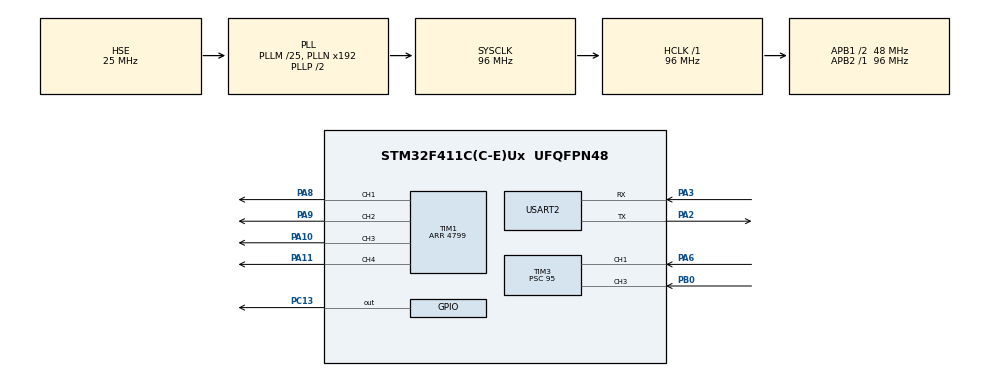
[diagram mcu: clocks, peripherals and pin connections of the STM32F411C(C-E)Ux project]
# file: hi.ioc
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Mcu.Family=STM32F4
Mcu.Name=STM32F411C(C-E)Ux
Mcu.Package=UFQFPN48
NVIC.PriorityGroup=NVIC_PRIORITYGROUP_4
NVIC.TIM3_IRQn=true\:0\:0\:false\:false\:true\:true\:true\:true
PA10.Signal=S_TIM1_CH3
PA11.Signal=S_TIM1_CH4
PA13.Mode=Serial_Wire
PA13.Signal=SYS_JTMS-SWDIO
PA14.Mode=Serial_Wire
PA14.Signal=SYS_JTCK-SWCLK
PA2.Mode=Asynchronous
PA2.Signal=USART2_TX
PA3.Mode=Asynchronous
PA3.Signal=USART2_RX
PA6.Signal=S_TIM3_CH1
PA7.Signal=S_TIM3_CH2
PA8.Signal=S_TIM1_CH1
PA9.Signal=S_TIM1_CH2
PB0.Signal=S_TIM3_CH3
PB1.Signal=S_TIM3_CH4
PC13-ANTI_TAMP.Signal=GPIO_Output
PH0\ -\ OSC_IN.Mode=HSE-External-Oscillator
PH0\ -\ OSC_IN.Signal=RCC_OSC_IN
PH1\ -\ OSC_OUT.Mode=HSE-External-Oscillator
PH1\ -\ OSC_OUT.Signal=RCC_OSC_OUT
ProjectManager.HeapSize=0x200
ProjectManager.StackSize=0x400
ProjectManager.TargetToolchain=STM32CubeIDE
RCC.48MHZClocksFreq_Value=48000000
RCC.AHBFreq_Value=96000000
RCC.APB1CLKDivider=RCC_HCLK_DIV2
RCC.APB1Freq_Value=48000000
RCC.APB1TimFreq_Value=96000000
RCC.APB2Freq_Value=96000000
RCC.APB2TimFreq_Value=96000000
RCC.CortexFreq_Value=96000000
RCC.HCLKFreq_Value=96000000
RCC.HSE_VALUE=25000000
RCC.HSI_VALUE=16000000
RCC.LSE_VALUE=32768
RCC.PLLM=25
RCC.PLLSourceVirtual=RCC_PLLSOURCE_HSE
RCC.SYSCLKFreq_VALUE=96000000
RCC.SYSCLKSource=RCC_SYSCLKSOURCE_PLLCLK
RCC.VCOOutputFreq_Value=192000000
SH.S_TIM1_CH1.0=TIM1_CH1,PWM Generation1 CH1
SH.S_TIM1_CH2.0=TIM1_CH2,PWM Generation2 CH2
SH.S_TIM1_CH3.0=TIM1_CH3,PWM Generation3 CH3
SH.S_TIM1_CH4.0=TIM1_CH4,PWM Generation4 CH4
SH.S_TIM3_CH1.0=TIM3_CH1,Input_Capture1_from_TI1
SH.S_TIM3_CH2.0=TIM3_CH2
SH.S_TIM3_CH3.0=TIM3_CH3,Input_Capture3_from_TI3
SH.S_TIM3_CH4.0=TIM3_CH4
TIM1.Channel-PWM\ Generation1\ CH1=TIM_CHANNEL_1
TIM1.Channel-PWM\ Generation2\ CH2=TIM_CHANNEL_2
TIM1.Channel-PWM\ Generation3\ CH3=TIM_CHANNEL_3
TIM1.Channel-PWM\ Generation4\ CH4=TIM_CHANNEL_4
TIM1.Period=4799
TIM3.Channel-Input_Capture1_from_TI1=TIM_CHANNEL_1
TIM3.Channel-Input_Capture2_from_TI1_63=TIM_CHANNEL_2
TIM3.Channel-Input_Capture3_from_TI3=TIM_CHANNEL_3
TIM3.Channel-Input_Capture4_from_TI3_63=TIM_CHANNEL_4
TIM3.ICPolarity_CH2=TIM_INPUTCHANNELPOLARITY_FALLING
TIM3.ICPolarity_CH4=TIM_INPUTCHANNELPOLARITY_FALLING
TIM3.Prescaler=95
USART2.VirtualMode=VM_ASYNC
VP_TIM3_VS_indirect_ch1.Mode=Input_Capture2_from_TI1_63
VP_TIM3_VS_indirect_ch3.Mode=Input_Capture4_from_TI3_63
board=custom

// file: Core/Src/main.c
/* USER CODE BEGIN Header */
/**
  ******************************************************************************
  * @file           : main.c
  * @brief          : Main program body
  ******************************************************************************
  * @attention
  *
  * Copyright (c) 2024 STMicroelectronics.
  * All rights reserved.
  *
  * This software is licensed under terms that can be found in the LICENSE file
  * in the root directory of this software component.
  * If no LICENSE file comes with this software, it is provided AS-IS.
  *
  ******************************************************************************
  */
/* USER CODE END Header */
#include "main.h"

/* USER CODE BEGIN Includes */
#include <stdio.h>
#include <stdint.h>
#include <string.h>
#include <stdlib.h>
#include <ctype.h>
#include "Motor_Driver.h"
#include "Receiver.h"

/* USER CODE END Includes */

TIM_HandleTypeDef htim1;
TIM_HandleTypeDef htim3;

UART_HandleTypeDef huart2;

/* USER CODE BEGIN PV */

/* USER CODE BEGIN PV */

volatile uint16_t previousTriggerValue = 0;
volatile uint16_t previousWheelValue = 0;

    // Initialize RCReceiver struct members using designated initializers
char message[150];
RCReceiver receiver= {
	.Trigger_Channel1_Rise = TIM_CHANNEL_1,
	.Trigger_Channel1_Fall = TIM_CHANNEL_2,
	.Trigger_Channel2_Rise = TIM_CHANNEL_3,
	.Trigger_Channel2_Fall = TIM_CHANNEL_4,
	.htim = &htim3,
	.nominalPWM = 1521,         // Nominal PWM from the receiver (in microseconds)
	.highPWM = 2042,            // High PWM period value from the receiver (in microseconds)
	.lowPWM = 1019
};
RCReceiver *pointer_rc = &receiver;

/* USER CODE END PV */

void SystemClock_Config(void);
static void MX_GPIO_Init(void);
static void MX_TIM1_Init(void);
static void MX_TIM3_Init(void);
static void MX_USART2_UART_Init(void);

/* USER CODE BEGIN 0 */
MotorDriver motor1;
MotorDriver motor2;
/* USER CODE END 0 */

int main(void)
{

  /* MCU Configuration--------------------------------------------------------*/

  /* Reset of all peripherals, Initializes the Flash interface and the Systick. */
  HAL_Init();

  /* Configure the system clock */
  SystemClock_Config();

  /* Initialize all configured peripherals */
  MX_GPIO_Init();
  MX_TIM1_Init();
  MX_TIM3_Init();
  MX_USART2_UART_Init();
  /* USER CODE BEGIN 2 */

  HAL_UART_Transmit(&huart2, (uint8_t*)"\n\r Enter a Command: Mnxy .\r\n", 29, HAL_MAX_DELAY);

  // Start RC receiver capture
  startRCReceiverCapture(&receiver);

  /* Initialize motor drivers */
  motor1.htim = &htim1;
  motor1.forward_channel = TIM_CHANNEL_1;
  motor1.backward_channel = TIM_CHANNEL_2;

  motor2.htim = &htim1;
  motor2.forward_channel = TIM_CHANNEL_3;
  motor2.backward_channel = TIM_CHANNEL_4;

  motor_disable(&motor1);
  motor_disable(&motor2);

  motor_enable(&motor1);
  motor_enable(&motor2);

  motor_brake(&motor1);
  motor_brake(&motor2);

  uint16_t Trigger_Duty = 0; //returns trigger_val
  uint16_t Wheel_Duty = 0;

  startRCReceiverCapture(&receiver);

  /* USER CODE END 2 */

  /* Infinite loop */
  /* USER CODE BEGIN WHILE */
  while (1)
  {
      // Calculate trigger and wheel values
      calculateTriggerValueCallback(&receiver, previousTriggerValue);
      calculateWheelValueCallback(&receiver, previousWheelValue);

      // Prepare message with trigger and wheel values
      sprintf(message, "\n\r Trigger Channel MOT: %d (us), Wheel Channel MOT: %d (us).", g_trigger_val, g_wheel_val);

      // Calculate duty cycles for motor control
      Trigger_Duty = -4550 + (g_trigger_val - 1019) * (9598 / 1019);
      Wheel_Duty = -4550 + (g_wheel_val - 1019) * (9598 / 1019);

      // Set duty cycles for respective motors
      motor_set_duty_cycle(&motor1, Trigger_Duty);
      motor_set_duty_cycle(&motor2, Wheel_Duty);

      // Transmit message over UART
      HAL_UART_Transmit(&huart2, (uint8_t*)message, strlen(message), HAL_MAX_DELAY);

      // Delay to control the loop frequency
      HAL_Delay(200);

      // Additional delay or other processing if needed
  }

  /* USER CODE END 3 */
}

void SystemClock_Config(void)
{
  RCC_OscInitTypeDef RCC_OscInitStruct = {0};
  RCC_ClkInitTypeDef RCC_ClkInitStruct = {0};

  /** Configure the main internal regulator output voltage
  */
  __HAL_RCC_PWR_CLK_ENABLE();
  __HAL_PWR_VOLTAGESCALING_CONFIG(PWR_REGULATOR_VOLTAGE_SCALE1);

  /** Initializes the RCC Oscillators according to the specified parameters
  * in the RCC_OscInitTypeDef structure.
  */
  RCC_OscInitStruct.OscillatorType = RCC_OSCILLATORTYPE_HSE;
  RCC_OscInitStruct.HSEState = RCC_HSE_ON;
  RCC_OscInitStruct.PLL.PLLState = RCC_PLL_ON;
  RCC_OscInitStruct.PLL.PLLSource = RCC_PLLSOURCE_HSE;
  RCC_OscInitStruct.PLL.PLLM = 25;
  RCC_OscInitStruct.PLL.PLLN = 192;
  RCC_OscInitStruct.PLL.PLLP = RCC_PLLP_DIV2;
  RCC_OscInitStruct.PLL.PLLQ = 4;
  if (HAL_RCC_OscConfig(&RCC_OscInitStruct) != HAL_OK)
  {
    Error_Handler();
  }

  /** Initializes the CPU, AHB and APB buses clocks
  */
  RCC_ClkInitStruct.ClockType = RCC_CLOCKTYPE_HCLK|RCC_CLOCKTYPE_SYSCLK
                              |RCC_CLOCKTYPE_PCLK1|RCC_CLOCKTYPE_PCLK2;
  RCC_ClkInitStruct.SYSCLKSource = RCC_SYSCLKSOURCE_PLLCLK;
  RCC_ClkInitStruct.AHBCLKDivider = RCC_SYSCLK_DIV1;
  RCC_ClkInitStruct.APB1CLKDivider = RCC_HCLK_DIV2;
  RCC_ClkInitStruct.APB2CLKDivider = RCC_HCLK_DIV1;

  if (HAL_RCC_ClockConfig(&RCC_ClkInitStruct, FLASH_LATENCY_3) != HAL_OK)
  {
    Error_Handler();
  }
}

static void MX_TIM1_Init(void)
{

  TIM_MasterConfigTypeDef sMasterConfig = {0};
  TIM_OC_InitTypeDef sConfigOC = {0};
  TIM_BreakDeadTimeConfigTypeDef sBreakDeadTimeConfig = {0};

  htim1.Instance = TIM1;
  htim1.Init.Prescaler = 0;
  htim1.Init.CounterMode = TIM_COUNTERMODE_UP;
  htim1.Init.Period = 4799;
  htim1.Init.ClockDivision = TIM_CLOCKDIVISION_DIV1;
  htim1.Init.RepetitionCounter = 0;
  htim1.Init.AutoReloadPreload = TIM_AUTORELOAD_PRELOAD_DISABLE;
  if (HAL_TIM_PWM_Init(&htim1) != HAL_OK)
  {
    Error_Handler();
  }
  sMasterConfig.MasterOutputTrigger = TIM_TRGO_RESET;
  sMasterConfig.MasterSlaveMode = TIM_MASTERSLAVEMODE_DISABLE;
  if (HAL_TIMEx_MasterConfigSynchronization(&htim1, &sMasterConfig) != HAL_OK)
  {
    Error_Handler();
  }
  sConfigOC.OCMode = TIM_OCMODE_PWM1;
  sConfigOC.Pulse = 0;
  sConfigOC.OCPolarity = TIM_OCPOLARITY_HIGH;
  sConfigOC.OCNPolarity = TIM_OCNPOLARITY_HIGH;
  sConfigOC.OCFastMode = TIM_OCFAST_DISABLE;
  sConfigOC.OCIdleState = TIM_OCIDLESTATE_RESET;
  sConfigOC.OCNIdleState = TIM_OCNIDLESTATE_RESET;
  if (HAL_TIM_PWM_ConfigChannel(&htim1, &sConfigOC, TIM_CHANNEL_1) != HAL_OK)
  {
    Error_Handler();
  }
  if (HAL_TIM_PWM_ConfigChannel(&htim1, &sConfigOC, TIM_CHANNEL_2) != HAL_OK)
  {
    Error_Handler();
  }
  if (HAL_TIM_PWM_ConfigChannel(&htim1, &sConfigOC, TIM_CHANNEL_3) != HAL_OK)
  {
    Error_Handler();
  }
  if (HAL_TIM_PWM_ConfigChannel(&htim1, &sConfigOC, TIM_CHANNEL_4) != HAL_OK)
  {
    Error_Handler();
  }
  sBreakDeadTimeConfig.OffStateRunMode = TIM_OSSR_DISABLE;
  sBreakDeadTimeConfig.OffStateIDLEMode = TIM_OSSI_DISABLE;
  sBreakDeadTimeConfig.LockLevel = TIM_LOCKLEVEL_OFF;
  sBreakDeadTimeConfig.DeadTime = 0;
  sBreakDeadTimeConfig.BreakState = TIM_BREAK_DISABLE;
  sBreakDeadTimeConfig.BreakPolarity = TIM_BREAKPOLARITY_HIGH;
  sBreakDeadTimeConfig.AutomaticOutput = TIM_AUTOMATICOUTPUT_DISABLE;
  if (HAL_TIMEx_ConfigBreakDeadTime(&htim1, &sBreakDeadTimeConfig) != HAL_OK)
  {
    Error_Handler();
  }
  HAL_TIM_MspPostInit(&htim1);

}

static void MX_TIM3_Init(void)
{

  TIM_MasterConfigTypeDef sMasterConfig = {0};
  TIM_IC_InitTypeDef sConfigIC = {0};

  htim3.Instance = TIM3;
  htim3.Init.Prescaler = 95;
  htim3.Init.CounterMode = TIM_COUNTERMODE_UP;
  htim3.Init.Period = 65535;
  htim3.Init.ClockDivision = TIM_CLOCKDIVISION_DIV1;
  htim3.Init.AutoReloadPreload = TIM_AUTORELOAD_PRELOAD_DISABLE;
  if (HAL_TIM_IC_Init(&htim3) != HAL_OK)
  {
    Error_Handler();
  }
  sMasterConfig.MasterOutputTrigger = TIM_TRGO_RESET;
  sMasterConfig.MasterSlaveMode = TIM_MASTERSLAVEMODE_DISABLE;
  if (HAL_TIMEx_MasterConfigSynchronization(&htim3, &sMasterConfig) != HAL_OK)
  {
    Error_Handler();
  }
  sConfigIC.ICPolarity = TIM_INPUTCHANNELPOLARITY_RISING;
  sConfigIC.ICSelection = TIM_ICSELECTION_DIRECTTI;
  sConfigIC.ICPrescaler = TIM_ICPSC_DIV1;
  sConfigIC.ICFilter = 0;
  if (HAL_TIM_IC_ConfigChannel(&htim3, &sConfigIC, TIM_CHANNEL_1) != HAL_OK)
  {
    Error_Handler();
  }
  sConfigIC.ICPolarity = TIM_INPUTCHANNELPOLARITY_FALLING;
  sConfigIC.ICSelection = TIM_ICSELECTION_INDIRECTTI;
  if (HAL_TIM_IC_ConfigChannel(&htim3, &sConfigIC, TIM_CHANNEL_2) != HAL_OK)
  {
    Error_Handler();
  }
  sConfigIC.ICPolarity = TIM_INPUTCHANNELPOLARITY_RISING;
  sConfigIC.ICSelection = TIM_ICSELECTION_DIRECTTI;
  if (HAL_TIM_IC_ConfigChannel(&htim3, &sConfigIC, TIM_CHANNEL_3) != HAL_OK)
  {
    Error_Handler();
  }
  sConfigIC.ICPolarity = TIM_INPUTCHANNELPOLARITY_FALLING;
  sConfigIC.ICSelection = TIM_ICSELECTION_INDIRECTTI;
  if (HAL_TIM_IC_ConfigChannel(&htim3, &sConfigIC, TIM_CHANNEL_4) != HAL_OK)
  {
    Error_Handler();
  }

}

static void MX_USART2_UART_Init(void)
{

  huart2.Instance = USART2;
  huart2.Init.BaudRate = 115200;
  huart2.Init.WordLength = UART_WORDLENGTH_8B;
  huart2.Init.StopBits = UART_STOPBITS_1;
  huart2.Init.Parity = UART_PARITY_NONE;
  huart2.Init.Mode = UART_MODE_TX_RX;
  huart2.Init.HwFlowCtl = UART_HWCONTROL_NONE;
  huart2.Init.OverSampling = UART_OVERSAMPLING_16;
  if (HAL_UART_Init(&huart2) != HAL_OK)
  {
    Error_Handler();
  }

}

static void MX_GPIO_Init(void)
{
  GPIO_InitTypeDef GPIO_InitStruct = {0};

  /* GPIO Ports Clock Enable */
  __HAL_RCC_GPIOC_CLK_ENABLE();
  __HAL_RCC_GPIOH_CLK_ENABLE();
  __HAL_RCC_GPIOA_CLK_ENABLE();
  __HAL_RCC_GPIOB_CLK_ENABLE();

  /*Configure GPIO pin Output Level */
  HAL_GPIO_WritePin(GPIOC, GPIO_PIN_13, GPIO_PIN_RESET);

  /*Configure GPIO pin : PC13 */
  GPIO_InitStruct.Pin = GPIO_PIN_13;
  GPIO_InitStruct.Mode = GPIO_MODE_OUTPUT_PP;
  GPIO_InitStruct.Pull = GPIO_NOPULL;
  GPIO_InitStruct.Speed = GPIO_SPEED_FREQ_LOW;
  HAL_GPIO_Init(GPIOC, &GPIO_InitStruct);

}

/* USER CODE BEGIN 4 */

volatile uint16_t trigger_start_time = 0;
volatile uint16_t wheel_start_time = 0;

void HAL_TIM_IC_CaptureCallback(TIM_HandleTypeDef *htim)
{
    // Check which channel triggered the interrupt
    if (htim->Channel == HAL_TIM_ACTIVE_CHANNEL_1) // Trigger channel 1 (rising edge for the trigger on the RC)
    {
        // Capture the start time of the trigger pulse
    	trigger_start_time = HAL_TIM_ReadCapturedValue(htim, pointer_rc->Trigger_Channel1_Rise);
    }
    // Trigger channel 2 (falling edge)
    else if (htim->Channel == HAL_TIM_ACTIVE_CHANNEL_2)
    {
        // Calculate the duration of the trigger pulse
    	previousTriggerValue = HAL_TIM_ReadCapturedValue(htim, pointer_rc->Trigger_Channel1_Fall) - trigger_start_time;
    }
    // Wheel rising edge
    else if (htim->Channel == HAL_TIM_ACTIVE_CHANNEL_3)
    {
        // Capture the start time of the wheel pulse
    	wheel_start_time = HAL_TIM_ReadCapturedValue(htim, pointer_rc->Trigger_Channel2_Rise);
    }
    // Wheel falling edge
    else if (htim->Channel == HAL_TIM_ACTIVE_CHANNEL_4)
    {
        // Calculate the duration of the wheel pulse
    	previousWheelValue = HAL_TIM_ReadCapturedValue(htim, pointer_rc->Trigger_Channel2_Fall) - wheel_start_time;
    }
}

/* USER CODE END 4 */

void Error_Handler(void)
{
  __disable_irq();
  while (1)
  {
  }
}
